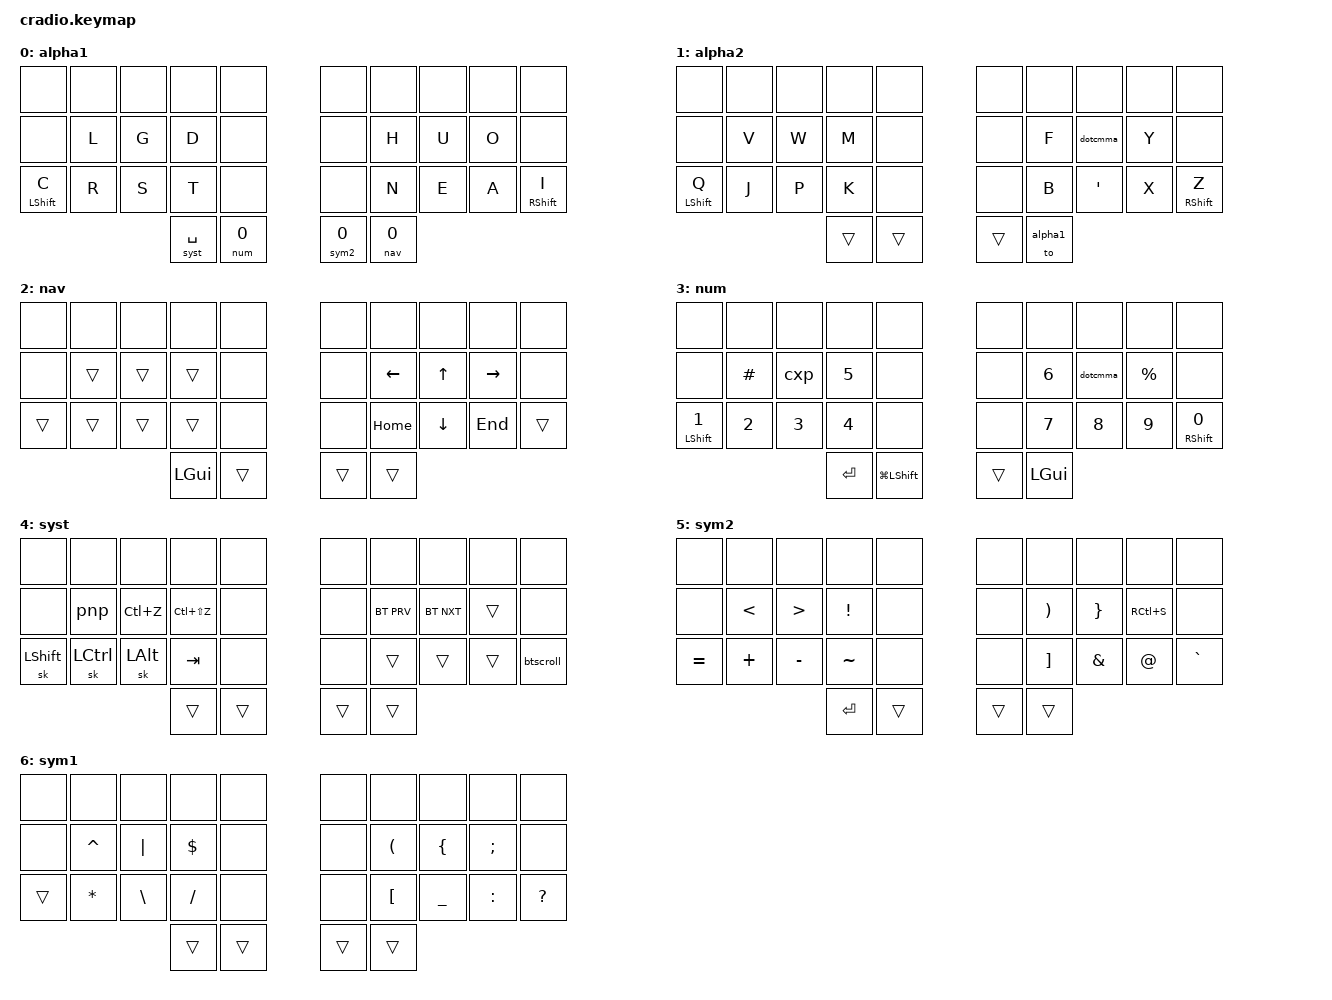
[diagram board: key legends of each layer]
/*
 * Copyright (c) 2020 The ZMK Contributors
 *
 * SPDX-License-Identifier: MIT
 *
 * Edited by DancyPancy
 *
 * Notes:
 * using sk doesn't work I want you to be able to tap a bunch of modifiers and only press when the next non modifier is pressed
 *
 */

#include <behaviors.dtsi>
#include <dt-bindings/zmk/keys.h>
#include <dt-bindings/zmk/bt.h>
#include <dt-bindings/zmk/mouse.h>

#define alpha1 0 
#define alpha2 1
#define nav 2
#define num 3
#define syst 4
#define sym2 5
#define sym1 6

&mt {
	flavor = "tap-preferred";
};

/ { 
    behaviors {
		// behaviors
		http: hold-tap-tap-preferred {
			compatible = "zmk,behavior-hold-tap";
			label = "HOLD_TAP_TAP_PREFERRED";
			flavor = "tap-preferred";
			#binding-cells = <2>;
			tapping-term-ms = <200>;
			bindings = <&kp>, <&kp>;
			retro-tap;
		};

		ltspc: layer-tap-spacebar {
			compatible = "zmk,behavior-hold-tap";
			label = "LAYER_TAP_SPACEBAR";
			flavor = "balanced";
			#binding-cells = <2>;
			tapping-term-ms = <200>;
			bindings = <&mo>, <&spcbar>;
		};

		slqr: sticky_key_quick_release {
			compatible = "zmk,behavior-sticky-key";
			label = "STICKY_KEY_QUICK_RELEASE";
			#binding-cells = <1>;
			bindings = <&mo>;
			release-after-ms = <800>;
			ignore-modifiers;
			quick-release;
		};

		reklt: repeat_key_layertap {
			compatible = "zmk,behavior-hold-tap";
			label = "REPEAT_KEY_LAYERTAP";
			#binding-cells = <2>;
			flavor = "hold-preferred";
			tapping-term-ms = <200>;
			bindings = <&mo>, <&key_repeat>;
		};

		mha2: mh_alpha2 {
			compatible = "zmk,behavior-hold-tap";
			label = "MOMENTARY_HOLD_ALPHA2_TAP";
			#binding-cells = <2>;
			flavor = "tap-preferred";
			tapping-term-ms = <200>;
			bindings = <&mo>, <&salpha2>;
		};

		mhsym1: mh_sybmol {
			compatible = "zmk,behavior-hold-tap";
			label = "MOMENTARY_HOLD_SYMBOL1_TAP";
			#binding-cells = <2>;
			flavor = "tap-preferred";
			tapping-term-ms = <200>;
			bindings = <&mo>, <&ssymbol1>;
		};

		// Tap Dances
    	cxp: copy_cut_paste {
            compatible = "zmk,behavior-tap-dance";
            label = "COPY_CUT_PASTE";
            #binding-cells = <0>;
            tapping-term-ms = <200>;
            bindings = <&http LC(X) LC(C)>, <&kp LC(V)>;
        };

	  	pnp: play_next_previous {
            compatible = "zmk,behavior-tap-dance";
            label = "PLAY_NEXT_PREVIOUS";
            #binding-cells = <0>;
            tapping-term-ms = <200>;
            bindings = <&kp C_PP>, <&kp C_NEXT>, <&kp C_PREV>;
        };	

	  	btscroll: bluetooth_scroll {
            compatible = "zmk,behavior-tap-dance";
            label = "BLUETOOTH_SCROLL";
            #binding-cells = <0>;
            tapping-term-ms = <200>;
            bindings = <&bt BT_SEL 0>, <&bt BT_SEL 1>, <&bt BT_SEL 3>, <&bt BT_CLR>;
        };			

		// Mod Morphs
		dotcmma: dot_comma {
            compatible = "zmk,behavior-mod-morph";
            label = "DOT_COMMA";
            #binding-cells = <0>;
            bindings = <&kp DOT>, <&kp COMMA>;
            mods = <(MOD_LSFT|MOD_RSFT)>;
        };

    };

	macros {

		highline: highlight_line {
            label = "HIGHLIGHT_LINE";
            compatible = "zmk,behavior-macro";
            #binding-cells = <0>;
            bindings = 
				<&macro_tap &kp END>,
				<&macro_press &kp LSHIFT>,
				<&macro_tap &kp HOME>;
        };

		salpha2: sticky_alpha2 {
			label = "STICKY_ALPHA2";
			compatible = "zmk,behavior-macro";
			#binding-cells = <0>;
			wait-ms = <5>;
            bindings = 
				<&macro_tap &slqr alpha2>;
		};

		ssymbol1: sticky_symbol1 {
			label = "STICKY_SYMBOL1";
			compatible = "zmk,behavior-macro";
			#binding-cells = <0>;
            bindings = 
				<&macro_tap &sl sym1>;
		};

		spcbar: spacebar {
			label = "SPACEBAR";
			compatible = "zmk,behavior-macro";
			#binding-cells = <0>;
            bindings = 
				<&macro_tap &kp SPACE>;
		};
	};

    combos {
        compatible = "zmk,combos";

		esc {
			timeout-ms = <50>;
			key-positions = <11 12>;
			bindings = <&kp ESCAPE>;
			layers = <alpha1 alpha2>;
		};
		
		bkspc {
			timeout-ms = <30>;
			key-positions = <17 18>;
			bindings = <&kp BACKSPACE>;
			layers = <alpha1 alpha2 num>;
		};

		ctrlbkspc {
			timeout-ms = <30>;
			key-positions = <16 17 18>;
			bindings = <&kp RC(BACKSPACE)>;
			layers = <alpha1 alpha2 num>;
		};

		delete {
			timeout-ms = <30>;
			key-positions = <16 17>;
			bindings = <&kp DEL>;
			layers = <alpha1 alpha2 num>;
		};
    };

	keymap {
		compatible = "zmk,keymap";
		//   ╭────────────────────╮ ╭────────────────────╮
        //   │  0   1   2   3   4 │ │  5   6   7   8   9 │
        //   │ 10  11  12  13  14 │ │ 15  16  17  18  19 │
        //   │ 20  21  22  23  24 | | 25  26  27  28  29 │
        //   ╰───────────╮ 30  31 │ │ 32  33 ╭───────────╯
        //               ╰────────╯ ╰────────╯     

		/*0*/
		alpha1 {
			bindings = <
		/*	   ╭──────────────╮╭──────────────╮╭──────────────╮╭──────────────╮╭──────────────╮	   ╭──────────────╮╭──────────────╮╭──────────────╮╭──────────────╮╭──────────────╮ */
		/*	   |			  ||			  ||			  ||			  ||			  |	   |			  ||			  ||			  ||			  ||			  | */
		/**/	&none			&none			&none			&none			&none				&none			&none			&none			&none			&none
		/*	   ╰──────────────╯╰──────────────╯╰──────────────╯╰──────────────╯╰──────────────╯	   ╰──────────────╯╰──────────────╯╰──────────────╯╰──────────────╯╰──────────────╯ */
		/*	   ╭──────────────╮╭──────────────╮╭──────────────╮╭──────────────╮╭──────────────╮	   ╭──────────────╮╭──────────────╮╭──────────────╮╭──────────────╮╭──────────────╮ */
		/*	   |			  ||			  ||			  ||			  ||			  |	   |			  ||			  ||			  ||			  ||			  | */
		/**/	&none			&kp L			&kp G			&kp D			&none				&none			&kp H			&kp U			&kp O			&none
		/*	   ╰──────────────╯╰──────────────╯╰──────────────╯╰──────────────╯╰──────────────╯	   ╰──────────────╯╰──────────────╯╰──────────────╯╰──────────────╯╰──────────────╯ */
		/*	   ╭──────────────╮╭──────────────╮╭──────────────╮╭──────────────╮╭──────────────╮	   ╭──────────────╮╭──────────────╮╭──────────────╮╭──────────────╮╭──────────────╮ */
		/*	   |			  ||			  ||			  ||			  ||			  |	   |			  ||			  ||			  ||			  ||			  | */
		/**/	&http LSHFT C	&kp R 			&kp S			&kp T			&none				&none			&kp N			&kp E			&kp A			&http RSHFT I
		/*	   ╰──────────────╯╰──────────────╯╰──────────────╯╰──────────────╯╰──────────────╯	   ╰──────────────╯╰──────────────╯╰──────────────╯╰──────────────╯╰──────────────╯ */
		/*	   												   ╭──────────────╮╭──────────────╮	   ╭──────────────╮╭──────────────╮
		/*	   												   |			  ||      (repeat)|	   |		(sym1)||	  (alpha2)|													*/
		/**/													&lt syst SPACE	&reklt num N0 		&mhsym1 sym2 N0	&mha2 nav N0
		/*	   												   ╰──────────────╯╰──────────────╯	   ╰──────────────╯╰──────────────╯													*/
			>;
		};

		/*1*/
		alpha2 {
			bindings = <
		/*	   ╭──────────────╮╭──────────────╮╭──────────────╮╭──────────────╮╭──────────────╮	   ╭──────────────╮╭──────────────╮╭──────────────╮╭──────────────╮╭──────────────╮ */
		/*	   |			  ||			  ||			  ||			  ||			  |	   |			  ||			  ||			  ||			  ||			  | */
		/**/	&none			&none			&none			&none			&none				&none			&none			&none			&none			&none 
		/*	   ╰──────────────╯╰──────────────╯╰──────────────╯╰──────────────╯╰──────────────╯	   ╰──────────────╯╰──────────────╯╰──────────────╯╰──────────────╯╰──────────────╯ */
		/*	   ╭──────────────╮╭──────────────╮╭──────────────╮╭──────────────╮╭──────────────╮	   ╭──────────────╮╭──────────────╮╭──────────────╮╭──────────────╮╭──────────────╮ */
		/*	   |			  ||			  ||			  ||			  ||			  |	   |			  ||			  ||			  ||			  ||			  | */
		/**/	&none			&kp V			&kp W			&kp M			&none				&none			&kp F			&dotcmma		&kp Y			&none
		/*	   ╰──────────────╯╰──────────────╯╰──────────────╯╰──────────────╯╰──────────────╯	   ╰──────────────╯╰──────────────╯╰──────────────╯╰──────────────╯╰──────────────╯ */
		/*	   ╭──────────────╮╭──────────────╮╭──────────────╮╭──────────────╮╭──────────────╮	   ╭──────────────╮╭──────────────╮╭──────────────╮╭──────────────╮╭──────────────╮ */
		/*	   |			  ||			  ||			  ||			  ||			  |	   |			  ||			  ||			  ||			  ||			  | */
		/**/	&http LSHFT Q	&kp J			&kp P			&kp K			&none				&none			&kp B			&kp APOS		&kp X			&http RSHFT Z 
		/*	   ╰──────────────╯╰──────────────╯╰──────────────╯╰──────────────╯╰──────────────╯	   ╰──────────────╯╰──────────────╯╰──────────────╯╰──────────────╯╰──────────────╯ */
		/*	   												   ╭──────────────╮╭──────────────╮	   ╭──────────────╮╭──────────────╮
		/*	   												   |			  ||			  |	   |			  || layer (tap)  |													*/
		/**/													&trans			&trans				&trans			&to alpha1
		/*	   												   ╰──────────────╯╰──────────────╯	   ╰──────────────╯╰──────────────╯													*/
			>;
		};
		
		/*2*/
		nav {
			bindings = <
		/*	   ╭──────────────╮╭──────────────╮╭──────────────╮╭──────────────╮╭──────────────╮	   ╭──────────────╮╭──────────────╮╭──────────────╮╭──────────────╮╭──────────────╮ */
		/*	   |			  ||			  ||			  ||			  ||			  |	   |			  ||			  ||			  ||			  ||			  | */
		/**/	&none			&none			&none			&none			&none				&none			&none			&none			&none			&none
		/*	   ╰──────────────╯╰──────────────╯╰──────────────╯╰──────────────╯╰──────────────╯	   ╰──────────────╯╰──────────────╯╰──────────────╯╰──────────────╯╰──────────────╯ */
		/*	   ╭──────────────╮╭──────────────╮╭──────────────╮╭──────────────╮╭──────────────╮	   ╭──────────────╮╭──────────────╮╭──────────────╮╭──────────────╮╭──────────────╮ */
		/*	   |			  ||			  ||			  ||			  ||			  |	   |			  ||			  ||			  ||			  ||			  | */
		/**/	&none			&trans			&trans			&trans			&none				&none			&kp LEFT		&kp UP			&kp RIGHT		&none
		/*	   ╰──────────────╯╰──────────────╯╰──────────────╯╰──────────────╯╰──────────────╯	   ╰──────────────╯╰──────────────╯╰──────────────╯╰──────────────╯╰──────────────╯ */
		/*	   ╭──────────────╮╭──────────────╮╭──────────────╮╭──────────────╮╭──────────────╮	   ╭──────────────╮╭──────────────╮╭──────────────╮╭──────────────╮╭──────────────╮ */
		/*	   |			  ||			  ||			  ||			  ||			  |	   |			  ||			  ||			  ||			  ||			  | */
		/**/	&trans			&trans			&trans			&trans			&none				&none			&kp HOME		&kp DOWN		&kp END			&trans
		/*	   ╰──────────────╯╰──────────────╯╰──────────────╯╰──────────────╯╰──────────────╯	   ╰──────────────╯╰──────────────╯╰──────────────╯╰──────────────╯╰──────────────╯ */
		/* 													   ╭──────────────╮╭──────────────╮	   ╭──────────────╮╭──────────────╮
		/* 													   |			  ||			  |	   |			  || layer (hold) |													*/
		/**/						 							&kp LGUI		&trans				&trans			&trans
		/* 													   ╰──────────────╯╰──────────────╯	   ╰──────────────╯╰──────────────╯													*/
			>;
		};

		/*3*/
		num {
			bindings = <
		/*	   ╭──────────────╮╭──────────────╮╭──────────────╮╭──────────────╮╭──────────────╮	   ╭──────────────╮╭──────────────╮╭──────────────╮╭──────────────╮╭──────────────╮ */
		/*	   |			  ||			  ||			  ||			  ||			  |	   |			  ||			  ||			  ||			  ||			  | */
		/**/	&none			&none			&none			&none			&none				&none			&none			&none			&none			&none
		/*	   ╰──────────────╯╰──────────────╯╰──────────────╯╰──────────────╯╰──────────────╯	   ╰──────────────╯╰──────────────╯╰──────────────╯╰──────────────╯╰──────────────╯ */
		/*	   ╭──────────────╮╭──────────────╮╭──────────────╮╭──────────────╮╭──────────────╮	   ╭──────────────╮╭──────────────╮╭──────────────╮╭──────────────╮╭──────────────╮ */
		/*	   |			  ||			  ||			  ||			  ||			  |	   |			  ||			  ||			  ||			  ||			  | */
		/**/	&none			&kp HASH		&cxp			&kp N5			&none				&none			&kp N6			&dotcmma		&kp PRCNT		&none
		/*	   ╰──────────────╯╰──────────────╯╰──────────────╯╰──────────────╯╰──────────────╯	   ╰──────────────╯╰──────────────╯╰──────────────╯╰──────────────╯╰──────────────╯ */
		/*	   ╭──────────────╮╭──────────────╮╭──────────────╮╭──────────────╮╭──────────────╮	   ╭──────────────╮╭──────────────╮╭──────────────╮╭──────────────╮╭──────────────╮ */
		/*	   |			  ||			  ||			  ||			  ||			  |	   |			  ||			  ||			  ||			  ||			  | */
		/**/	&http LSHFT N1	&kp N2			&kp N3			&kp N4			&none				&none			&kp N7			&kp N8			&kp N9			&http RSHFT N0
		/*	   ╰──────────────╯╰──────────────╯╰──────────────╯╰──────────────╯╰──────────────╯	   ╰──────────────╯╰──────────────╯╰──────────────╯╰──────────────╯╰──────────────╯ */
		/*													   ╭──────────────╮╭──────────────╮	   ╭──────────────╮╭──────────────╮
		/*													   |			  || layer (hold) |	   |			  || 			  |													*/
		/**/													&kp ENTER		&kp LG(LSHFT)		&trans			&kp LGUI
		/*													   ╰──────────────╯╰──────────────╯	   ╰──────────────╯╰──────────────╯													*/
			>;
		};

		/*4*/
		syst { 
			bindings = <
		/*	   ╭──────────────╮╭──────────────╮╭──────────────╮╭──────────────╮╭──────────────╮	   ╭──────────────╮╭──────────────╮╭──────────────╮╭──────────────╮╭──────────────╮ */
		/*	   |			  ||			  ||			  ||			  ||			  |	   |			  ||			  ||			  ||			  ||			  | */
		/**/	&none			&none			&none			&none			&none				&none			&none			&none			&none			&none
		/*	   ╰──────────────╯╰──────────────╯╰──────────────╯╰──────────────╯╰──────────────╯	   ╰──────────────╯╰──────────────╯╰──────────────╯╰──────────────╯╰──────────────╯ */
		/*	   ╭──────────────╮╭──────────────╮╭──────────────╮╭──────────────╮╭──────────────╮	   ╭──────────────╮╭──────────────╮╭──────────────╮╭──────────────╮╭──────────────╮ */
		/*	   |			  ||			  ||			  ||			  ||			  |	   |			  ||			  ||			  ||			  ||			  | */
		/**/	&none			&pnp			&kp LC(Z)		&kp LC(LS(Z))	&none				&none			&bt BT_PRV		&bt BT_NXT		&trans			&none
		/*	   ╰──────────────╯╰──────────────╯╰──────────────╯╰──────────────╯╰──────────────╯	   ╰──────────────╯╰──────────────╯╰──────────────╯╰──────────────╯╰──────────────╯ */
		/*	   ╭──────────────╮╭──────────────╮╭──────────────╮╭──────────────╮╭──────────────╮	   ╭──────────────╮╭──────────────╮╭──────────────╮╭──────────────╮╭──────────────╮ */
		/*	   |			  ||			  ||			  ||			  ||			  |	   |			  ||			  ||			  ||			  ||			  | */
		/**/	&sk LSHFT		&sk LCTRL		&sk LALT		&kp TAB			&none				&none			&trans			&trans			&trans			&btscroll
		/*	   ╰──────────────╯╰──────────────╯╰──────────────╯╰──────────────╯╰──────────────╯	   ╰──────────────╯╰──────────────╯╰──────────────╯╰──────────────╯╰──────────────╯ */
		/*	   												   ╭──────────────╮╭──────────────╮	   ╭──────────────╮╭──────────────╮
		/*	   												   | layer (hold) ||			  |	   |			  || 			  |													*/
		/**/													&trans			&trans				&trans			&trans
		/*	   												   ╰──────────────╯╰──────────────╯	   ╰──────────────╯╰──────────────╯													*/
			>;
		};

		/*5*/
		sym2 {
			bindings = <
		/*	   ╭──────────────╮╭──────────────╮╭──────────────╮╭──────────────╮╭──────────────╮	   ╭──────────────╮╭──────────────╮╭──────────────╮╭──────────────╮╭──────────────╮ */
		/*	   |			  ||			  ||			  ||			  ||			  |	   |			  ||			  ||			  ||			  ||			  | */
		/**/	&none			&none			&none			&none			&none				&none			&none			&none			&none			&none
		/*	   ╰──────────────╯╰──────────────╯╰──────────────╯╰──────────────╯╰──────────────╯	   ╰──────────────╯╰──────────────╯╰──────────────╯╰──────────────╯╰──────────────╯ */
		/*	   ╭──────────────╮╭──────────────╮╭──────────────╮╭──────────────╮╭──────────────╮	   ╭──────────────╮╭──────────────╮╭──────────────╮╭──────────────╮╭──────────────╮ */
		/*	   |			  ||			  ||			  ||			  ||			  |	   |			  ||			  ||			  ||			  ||			  | */
		/**/	&none			&kp LT			&kp GT			&kp EXCL		&none				&none			&kp RPAR		&kp RBRC		&kp RC(S)		&none
		/*	   ╰──────────────╯╰──────────────╯╰──────────────╯╰──────────────╯╰──────────────╯	   ╰──────────────╯╰──────────────╯╰──────────────╯╰──────────────╯╰──────────────╯ */
		/*	   ╭──────────────╮╭──────────────╮╭──────────────╮╭──────────────╮╭──────────────╮	   ╭──────────────╮╭──────────────╮╭──────────────╮╭──────────────╮╭──────────────╮ */
		/*	   |			  ||			  ||			  ||			  ||			  |	   |			  ||			  ||			  ||			  ||			  | */
		/**/	&kp EQUAL		&kp PLUS		&kp MINUS		&kp TILDE		&none				&none			&kp RBKT		&kp AMPS		&kp AT			&kp GRAVE
		/*	   ╰──────────────╯╰──────────────╯╰──────────────╯╰──────────────╯╰──────────────╯	   ╰──────────────╯╰──────────────╯╰──────────────╯╰──────────────╯╰──────────────╯ */
		/*	   												   ╭──────────────╮╭──────────────╮	   ╭──────────────╮╭──────────────╮
		/*	   												   |			  || (keep this)  |	   | layer (hold) || 			  |													*/
		/**/													&kp ENTER		&trans				&trans			&trans
		/*	   												   ╰──────────────╯╰──────────────╯	   ╰──────────────╯╰──────────────╯													*/
			>;
		};

		/*6*/
		sym1 {
			bindings = <
		/*	   ╭──────────────╮╭──────────────╮╭──────────────╮╭──────────────╮╭──────────────╮	   ╭──────────────╮╭──────────────╮╭──────────────╮╭──────────────╮╭──────────────╮ */
		/*	   |			  ||			  ||			  ||			  ||			  |	   |			  ||			  ||			  ||			  ||			  | */
		/**/	&none			&none			&none			&none			&none				&none			&none			&none			&none			&none
		/*	   ╰──────────────╯╰──────────────╯╰──────────────╯╰──────────────╯╰──────────────╯	   ╰──────────────╯╰──────────────╯╰──────────────╯╰──────────────╯╰──────────────╯ */
		/*	   ╭──────────────╮╭──────────────╮╭──────────────╮╭──────────────╮╭──────────────╮	   ╭──────────────╮╭──────────────╮╭──────────────╮╭──────────────╮╭──────────────╮ */
		/*	   |			  ||			  ||			  ||			  ||			  |	   |			  ||			  ||			  ||			  ||			  | */
		/**/	&none			&kp CARET		&kp PIPE		&kp DOLLAR		&none				&none			&kp LPAR		&kp LBRC		&kp SEMI		&none
		/*	   ╰──────────────╯╰──────────────╯╰──────────────╯╰──────────────╯╰──────────────╯	   ╰──────────────╯╰──────────────╯╰──────────────╯╰──────────────╯╰──────────────╯ */
		/*	   ╭──────────────╮╭──────────────╮╭──────────────╮╭──────────────╮╭──────────────╮	   ╭──────────────╮╭──────────────╮╭──────────────╮╭──────────────╮╭──────────────╮ */
		/*	   |			  ||			  ||			  ||			  ||			  |	   |			  ||			  ||			  ||			  ||			  | */
		/**/	&trans			&kp ASTRK		&kp BSLH		&kp FSLH		&none				&none			&kp LBKT		&kp UNDER		&kp COLON		&kp QMARK
		/*	   ╰──────────────╯╰──────────────╯╰──────────────╯╰──────────────╯╰──────────────╯	   ╰──────────────╯╰──────────────╯╰──────────────╯╰──────────────╯╰──────────────╯ */
		/*	   												   ╭──────────────╮╭──────────────╮	   ╭──────────────╮╭──────────────╮
		/*	   												   |			  ||			  |	   | layer (tap)  || 			  |													*/
		/**/													&trans			&trans				&trans			&trans
		/*	   												   ╰──────────────╯╰──────────────╯	   ╰──────────────╯╰──────────────╯													*/
			>;
		};
		

		// /*#*/
		// blank {
		// 	bindings = <
		// /*	   ╭──────────────╮╭──────────────╮╭──────────────╮╭──────────────╮╭──────────────╮	   ╭──────────────╮╭──────────────╮╭──────────────╮╭──────────────╮╭──────────────╮ */
		// /*	   |			  ||			  ||			  ||			  ||			  |	   |			  ||			  ||			  ||			  ||			  | */
		// /**/	&none			&none			&none			&none			&none				&none			&none			&none			&none			&none
		// /*	   ╰──────────────╯╰──────────────╯╰──────────────╯╰──────────────╯╰──────────────╯	   ╰──────────────╯╰──────────────╯╰──────────────╯╰──────────────╯╰──────────────╯ */
		// /*	   ╭──────────────╮╭──────────────╮╭──────────────╮╭──────────────╮╭──────────────╮	   ╭──────────────╮╭──────────────╮╭──────────────╮╭──────────────╮╭──────────────╮ */
		// /*	   |			  ||			  ||			  ||			  ||			  |	   |			  ||			  ||			  ||			  ||			  | */
		// /**/	&none			&trans			&trans			&trans			&none				&none			&trans			&trans			&trans			&none
		// /*	   ╰──────────────╯╰──────────────╯╰──────────────╯╰──────────────╯╰──────────────╯	   ╰──────────────╯╰──────────────╯╰──────────────╯╰──────────────╯╰──────────────╯ */
		// /*	   ╭──────────────╮╭──────────────╮╭──────────────╮╭──────────────╮╭──────────────╮	   ╭──────────────╮╭──────────────╮╭──────────────╮╭──────────────╮╭──────────────╮ */
		// /*	   |			  ||			  ||			  ||			  ||			  |	   |			  ||			  ||			  ||			  ||			  | */
		// /**/	&trans			&trans			&trans			&trans			&none				&none			&trans			&trans			&trans			&trans
		// /*	   ╰──────────────╯╰──────────────╯╰──────────────╯╰──────────────╯╰──────────────╯	   ╰──────────────╯╰──────────────╯╰──────────────╯╰──────────────╯╰──────────────╯ */
		// /*	   												   ╭──────────────╮╭──────────────╮	   ╭──────────────╮╭──────────────╮
		// /*	   												   |			  ||			  |	   |			  || 			  |													*/
		// /**/													&trans			&trans				&trans			&trans
		// /*	   												   ╰──────────────╯╰──────────────╯	   ╰──────────────╯╰──────────────╯													*/
		// 	>;
		// };

	};
};  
